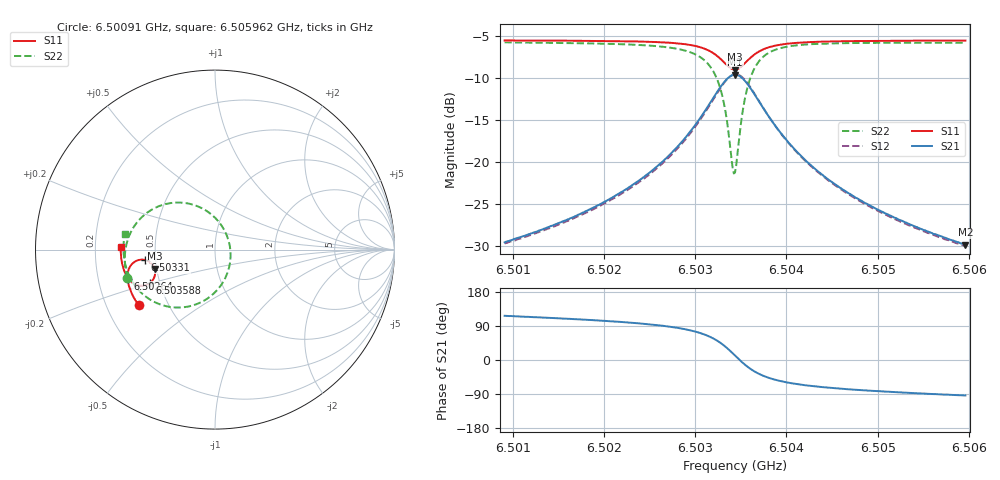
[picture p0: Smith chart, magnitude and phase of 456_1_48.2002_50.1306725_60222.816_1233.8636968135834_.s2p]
#  HZ  S  RI  R  50.00
! Rohde & Schwarz Vector Network Analyzer
! Rohde-Schwarz,ZNB20-2Port,1311601062101988,3.16
! Created: UTC 3/20/2024, 11:56:32 AM
! freq[Hz]  re:S11  im:S11  re:S21  im:S21  re:S12  im:S12  re:S22  im:S22
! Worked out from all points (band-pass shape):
!   401 points, 6.50091 GHz to 6.505962 GHz, reference 50 ohm
!   highest |S21| = -9.64 dB at 6.503436 GHz (marker M1); lowest = -29.9 dB at 6.505962 GHz (marker M2)
!   |S21| within 3 dB of the highest: 6.503184 GHz to 6.503689 GHz (505 kHz wide, 0.00776 % of centre)
!   lowest |S11| = -9.0 dB at 6.503436 GHz (marker M3), VSWR 2.09, Z = 24.3 - j5.93 ohm
!   |S11| at or under -10 dB: nowhere
!   |S22| runs from -21.4 to -5.8 dB; largest |S21 - S12| = 0.012
!   S11 on the Smith chart (normalised r, x): 6.50091 GHz: 0.34, -0.29; 6.50264 GHz: 0.33, -0.14; 6.50331 GHz: 0.44, -0.06; 6.503588 GHz: 0.44, -0.20; 6.505962 GHz: 0.31, +0.01
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6.5009102e9  -0.4247 -0.3112  -0.0149 0.0297  -0.0132 0.0299  -0.4882 -0.1586
6.5017564e9  -0.4614 -0.2491  -0.0144 0.0475  -0.012 0.0471  -0.5021 -0.0695
6.5022363e9  -0.4782 -0.2067  -0.0113 0.0676  -0.00821 0.0665  -0.4993 -0.00145
6.5026026e9  -0.487 -0.1663  -0.00255 0.0962  0.00113 0.0939  -0.4803 0.0716
6.5026405e9  -0.4874 -0.1614  -0.000875 0.1003  0.00291 0.0978  -0.4767 0.0811
6.5029183e9  -0.4835 -0.1183  0.0258 0.1427  0.0295 0.1384  -0.4216 0.1667
6.5031078e9  -0.4623 -0.0803  0.0796 0.1847  0.082 0.1786  -0.3187 0.2392
6.5032214e9  -0.4299 -0.0595  0.1485 0.2023  0.1494 0.1961  -0.1947 0.262
6.5033098e9  -0.3895 -0.0577  0.2278 0.1865  0.2282 0.1815  -0.0577 0.2222
6.5033477e9  -0.3703 -0.0652  0.2643 0.1635  0.2651 0.159  0.00238 0.1756
6.5034109e9  -0.3433 -0.092  0.3123 0.0997  0.315 0.095  0.0748 0.0529
6.5034361e9  -0.3369 -0.1066  0.3226 0.0675  0.3258 0.0618  0.086 -0.00701
6.5034614e9  -0.3339 -0.1222  0.3261 0.0337  0.3299 0.0268  0.0845 -0.0687
6.5035245e9  -0.3408 -0.1597  0.3084 -0.0441  0.3105 -0.0543  0.0292 -0.2044
6.5035877e9  -0.362 -0.1858  0.2655 -0.0987  0.2644 -0.1101  -0.0673 -0.2879
6.5036887e9  -0.4017 -0.2012  0.1905 -0.1351  0.1853 -0.1447  -0.2178 -0.3226
6.5038529e9  -0.448 -0.1916  0.1087 -0.1322  0.1016 -0.1373  -0.3655 -0.2761
6.5040297e9  -0.4754 -0.1703  0.0641 -0.1119  0.0579 -0.1143  -0.4377 -0.2113
6.5042823e9  -0.4961 -0.1404  0.0341 -0.0877  0.0293 -0.0883  -0.4813 -0.1391
6.5046486e9  -0.5113 -0.1021  0.0153 -0.0652  0.012 -0.0647  -0.5034 -0.0665
6.5051285e9  -0.5212 -0.0577  0.00506 -0.0478  0.00275 -0.0472  -0.51 0.00134
6.5059621e9  -0.526 0.0129  -0.00202 -0.0321  -0.00343 -0.0314  -0.5023 0.0892
